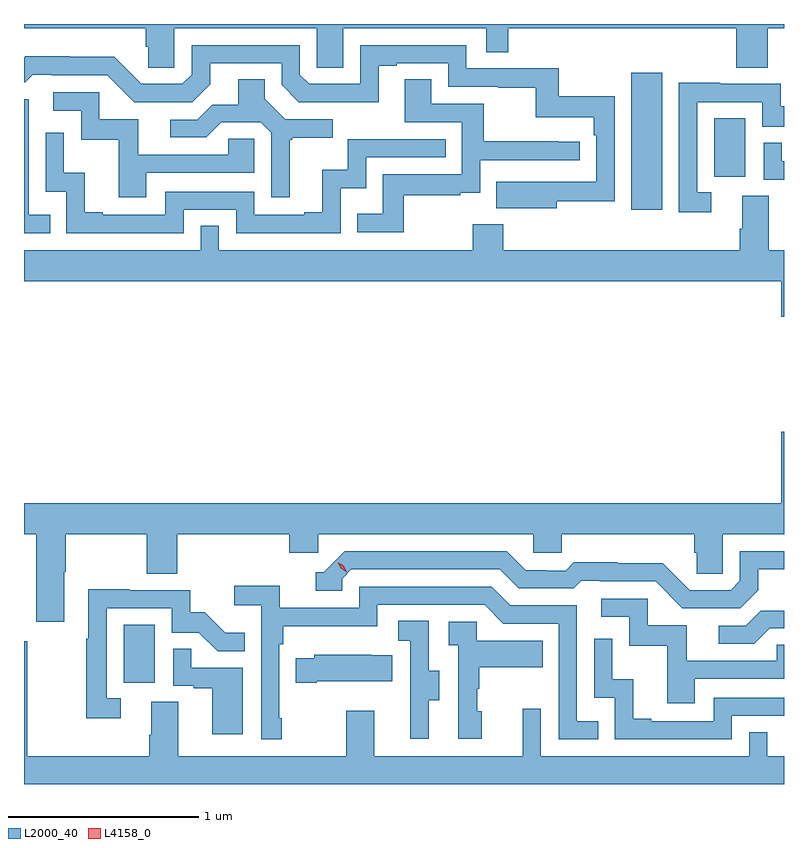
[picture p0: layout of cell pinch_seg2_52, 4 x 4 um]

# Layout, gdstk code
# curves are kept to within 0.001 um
import gdstk
lib = gdstk.Library(unit=1e-6, precision=1e-09)
def R(c, l, rs):  # rectangles x0, y0, x1, y1
    for r in rs: c.add(gdstk.rectangle(r[:2], r[2:], *l))
def P(c, l, *ps):  # polygons
    for p in ps: c.add(gdstk.Polygon(p, *l))
L2000_40 = (2000, 40)
L4158_0 = (4158, 0)

pinch_seg2_52 = lib.new_cell('pinch_seg2_52')
R(pinch_seg2_52, L2000_40, [(1072.634,660.174,1072.798,660.481), (1075.307,662.664,1075.468,663.385), (1075.742,662.838,1075.906,663.145)])
P(pinch_seg2_52, L2000_40, [(1072.902,663.62),(1073.652,663.62),(1073.652,663.412),(1073.791,663.412),(1073.791,663.62),(1074.543,663.62),(1074.543,663.493),(1074.659,663.493),(1074.659,663.62),(1075.859,663.62),(1075.859,663.412),(1076.024,663.412),(1076.024,663.62),(1076.11,663.62),(1076.11,663.642),(1072.11,663.642),(1072.11,663.62),(1072.751,663.62),(1072.751,663.522),(1072.765,663.522),(1072.765,663.412),(1072.902,663.412)],
  [(1074.913,662.71),(1075.218,662.71),(1075.218,663.262),(1074.925,663.262),(1074.925,663.408),(1074.438,663.408),(1074.438,663.531),(1073.88,663.531),(1073.88,663.327),(1073.61,663.327),(1073.562,663.375),(1073.562,663.531),(1072.992,663.531),(1072.992,663.375),(1072.944,663.327),(1072.728,663.327),(1072.586,663.469),(1072.35,663.469),(1072.35,663.472),(1072.117,663.472),(1072.11,663.465),(1072.11,663.336),(1072.117,663.336),(1072.156,663.375),(1072.255,663.375),(1072.255,663.372),(1072.548,663.372),(1072.689,663.231),(1072.995,663.231),(1073.089,663.325),(1073.089,663.435),(1073.466,663.435),(1073.466,663.321),(1073.556,663.231),(1073.977,663.23),(1073.977,663.423),(1074.073,663.423),(1074.073,663.435),(1074.342,663.435),(1074.342,663.312),(1074.607,663.312),(1074.607,663.307),(1074.804,663.307),(1074.804,663.152),(1075.109,663.152),(1075.109,663.056),(1075.122,663.056),(1075.122,662.811),(1074.595,662.812),(1074.595,662.672),(1074.913,662.672)],
  [(1074.109,662.742),(1074.407,662.742),(1074.407,662.753),(1074.51,662.753),(1074.51,662.925),(1075.036,662.925),(1075.036,663.021),(1074.923,663.021),(1074.923,663.026),(1074.53,663.026),(1074.53,663.222),(1074.253,663.222),(1074.253,663.35),(1074.113,663.35),(1074.113,663.126),(1074.414,663.126),(1074.414,662.85),(1073.998,662.85),(1073.998,662.644),(1073.863,662.644),(1073.863,662.547),(1074.109,662.547)],
  [(1073.509,663.033),(1073.521,663.033),(1073.521,663.044),(1073.734,663.044),(1073.734,663.141),(1073.484,663.141),(1073.377,663.248),(1073.377,663.35),(1073.237,663.35),(1073.237,663.218),(1073.102,663.218),(1073.022,663.138),(1072.881,663.138),(1072.881,663.045),(1073.068,663.045),(1073.149,663.126),(1073.355,663.126),(1073.412,663.069),(1073.412,662.73),(1073.509,662.73)],
  [(1075.726,662.757),(1075.653,662.757),(1075.653,663.231),(1075.995,663.231),(1075.995,663.102),(1076.11,663.102),(1076.11,663.21),(1076.094,663.21),(1076.094,663.327),(1075.775,663.327),(1075.775,663.332),(1075.557,663.332),(1075.557,662.652),(1075.726,662.652)],
  [(1072.753,662.859),(1073.322,662.859),(1073.322,663.039),(1073.185,663.039),(1073.185,662.955),(1072.711,662.955),(1072.711,663.141),(1072.506,663.141),(1072.506,663.282),(1072.263,663.282),(1072.263,663.186),(1072.41,663.186),(1072.41,663.033),(1072.609,663.033),(1072.609,662.73),(1072.753,662.73)],
  [(1072.247,662.637),(1072.134,662.637),(1072.134,663.246),(1072.11,663.246),(1072.11,662.541),(1072.247,662.541)],
  [(1072.95,662.664),(1073.226,662.664),(1073.226,662.541),(1073.778,662.541),(1073.778,662.777),(1073.91,662.777),(1073.91,662.94),(1074.329,662.94),(1074.329,663.036),(1073.814,663.036),(1073.814,662.875),(1073.681,662.875),(1073.681,662.65),(1073.585,662.65),(1073.585,662.637),(1073.322,662.637),(1073.322,662.76),(1072.854,662.76),(1072.854,662.637),(1072.525,662.637),(1072.525,662.65),(1072.43,662.65),(1072.43,662.858),(1072.32,662.858),(1072.32,663.07),(1072.224,663.07),(1072.224,662.76),(1072.332,662.76),(1072.332,662.541),(1072.95,662.541)],
  [(1076.11,662.919),(1076.099,662.919),(1076.099,663.017),(1076.004,663.017),(1076.004,662.823),(1076.11,662.823)],
  [(1076.11,662.452),(1076.029,662.452),(1076.029,662.738),(1075.889,662.738),(1075.889,662.564),(1075.877,662.564),(1075.877,662.452),(1074.632,662.452),(1074.632,662.587),(1074.472,662.587),(1074.472,662.452),(1073.136,662.452),(1073.136,662.579),(1073.04,662.579),(1073.04,662.452),(1072.11,662.452),(1072.11,662.288),(1076.096,662.288),(1076.096,662.1),(1076.11,662.1)],
  [(1072.321,660.76),(1072.329,660.76),(1072.329,660.956),(1072.756,660.956),(1072.756,660.748),(1072.916,660.748),(1072.916,660.956),(1073.507,660.956),(1073.507,660.858),(1073.658,660.858),(1073.658,660.956),(1074.789,660.956),(1074.789,660.858),(1074.939,660.858),(1074.939,660.956),(1075.637,660.956),(1075.637,660.858),(1075.651,660.858),(1075.651,660.748),(1075.788,660.748),(1075.788,660.956),(1076.11,660.956),(1076.11,661.495),(1076.096,661.495),(1076.096,661.12),(1072.11,661.12),(1072.11,660.956),(1072.174,660.956),(1072.174,660.495),(1072.321,660.495)],
  [(1075.975,660.661),(1075.975,660.771),(1076.11,660.771),(1076.11,660.867),(1075.878,660.867),(1075.878,660.711),(1075.83,660.663),(1075.614,660.663),(1075.472,660.805),(1075.236,660.805),(1075.236,660.808),(1075.003,660.808),(1074.961,660.765),(1074.858,660.765),(1074.858,660.768),(1074.751,660.768),(1074.652,660.867),(1073.799,660.867),(1073.688,660.756),(1073.645,660.756),(1073.645,660.66),(1073.784,660.66),(1073.784,660.723),(1073.832,660.771),(1074.615,660.771),(1074.714,660.672),(1075.003,660.672),(1075.042,660.711),(1075.141,660.711),(1075.141,660.708),(1075.434,660.708),(1075.575,660.567),(1075.881,660.567)],
  [(1073.467,659.989),(1073.454,659.989),(1073.454,660.377),(1073.474,660.377),(1073.474,660.473),(1073.97,660.473),(1073.97,660.585),(1074.534,660.585),(1074.633,660.486),(1074.924,660.486),(1074.924,659.877),(1075.133,659.877),(1075.133,659.973),(1075.02,659.973),(1075.02,660.582),(1074.67,660.582),(1074.571,660.681),(1073.874,660.681),(1073.874,660.57),(1073.456,660.57),(1073.456,660.686),(1073.217,660.686),(1073.217,660.584),(1073.358,660.584),(1073.358,659.877),(1073.467,659.877)],
  [(1072.618,660.093),(1072.545,660.093),(1072.545,660.567),(1072.887,660.567),(1072.887,660.438),(1073.031,660.438),(1073.129,660.34),(1073.273,660.34),(1073.273,660.439),(1073.169,660.439),(1073.062,660.546),(1072.986,660.546),(1072.986,660.663),(1072.667,660.663),(1072.667,660.668),(1072.449,660.668),(1072.449,660.407),(1072.437,660.407),(1072.437,659.988),(1072.618,659.988)],
  [(1075.639,660.195),(1076.11,660.195),(1076.11,660.375),(1076.071,660.375),(1076.071,660.291),(1075.597,660.291),(1075.597,660.477),(1075.392,660.477),(1075.392,660.618),(1075.149,660.618),(1075.149,660.522),(1075.296,660.522),(1075.296,660.369),(1075.495,660.369),(1075.495,660.066),(1075.639,660.066)],
  [(1076.035,660.462),(1076.11,660.462),(1076.11,660.554),(1075.988,660.554),(1075.908,660.474),(1075.767,660.474),(1075.767,660.381),(1075.954,660.381)],
  [(1074.241,660.082),(1074.295,660.082),(1074.295,660.237),(1074.24,660.237),(1074.24,660.5),(1074.081,660.5),(1074.081,660.397),(1074.144,660.397),(1074.144,660.093),(1074.143,660.093),(1074.143,659.88),(1074.241,659.88)],
  [(1074.52,660.024),(1074.495,660.024),(1074.495,660.143),(1074.505,660.143),(1074.505,660.257),(1074.839,660.257),(1074.839,660.397),(1074.492,660.397),(1074.492,660.495),(1074.345,660.495),(1074.345,660.371),(1074.396,660.371),(1074.396,659.88),(1074.52,659.88)],
  [(1075.836,660),(1076.11,660),(1076.11,660.096),(1075.74,660.096),(1075.74,659.973),(1075.411,659.973),(1075.411,659.986),(1075.316,659.986),(1075.316,660.194),(1075.206,660.194),(1075.206,660.406),(1075.11,660.406),(1075.11,660.096),(1075.218,660.096),(1075.218,659.877),(1075.836,659.877)],
  [(1076.11,659.788),(1076.022,659.788),(1076.022,659.915),(1075.926,659.915),(1075.926,659.788),(1074.831,659.788),(1074.831,660.037),(1074.734,660.037),(1074.734,659.788),(1073.953,659.788),(1073.953,660.028),(1073.806,660.028),(1073.806,659.788),(1072.921,659.788),(1072.921,660.074),(1072.781,660.074),(1072.781,659.9),(1072.769,659.9),(1072.769,659.788),(1072.126,659.788),(1072.126,660.394),(1072.11,660.394),(1072.11,659.642),(1076.11,659.642)],
  [(1073.26,660.255),(1072.991,660.255),(1072.991,660.353),(1072.896,660.353),(1072.896,660.159),(1073.003,660.159),(1073.003,660.147),(1073.102,660.147),(1073.102,659.904),(1073.26,659.904)],
  [(1073.65,660.182),(1074.047,660.182),(1074.047,660.319),(1073.939,660.319),(1073.939,660.322),(1073.637,660.322),(1073.637,660.304),(1073.539,660.304),(1073.539,660.175),(1073.65,660.175)])
P(pinch_seg2_52, L4158_0, [(1073.808,660.757),(1073.778,660.777),(1073.762,660.81),(1073.762,660.81),(1073.762,660.81),(1073.793,660.79),(1073.808,660.758),(1073.808,660.757)])

lib.write_gds('pinch_seg2_52.gds')
